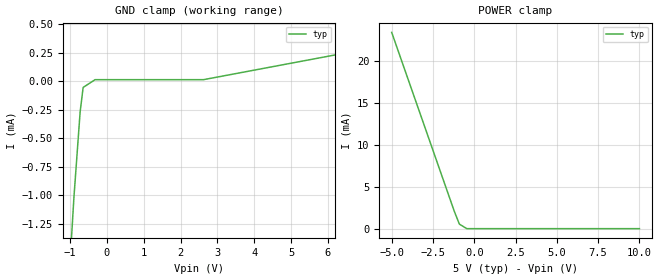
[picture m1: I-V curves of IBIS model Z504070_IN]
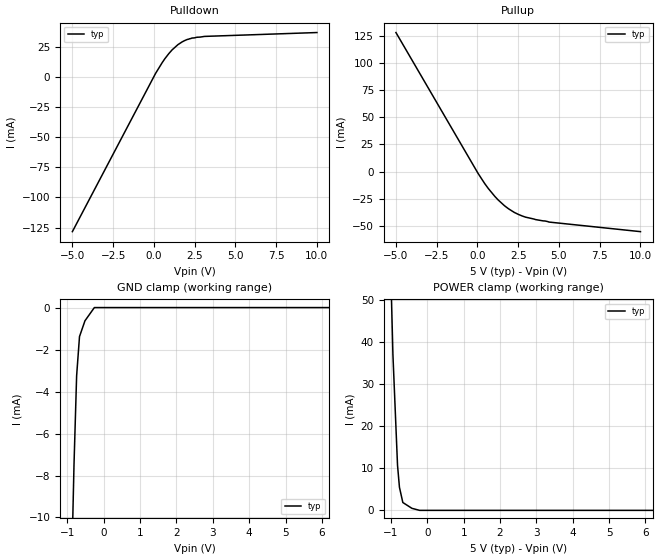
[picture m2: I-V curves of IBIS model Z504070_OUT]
| YOU ARE ONLY AUTHORIZED TO USE THIS SOFTWARE
| ACCORDING TO LICENSOR'S LICENSE RESTRICTIONS.
[IBIS Ver] 3.1
[File Name] mc54hc162j.ibs
[File Rev] 2.0
[Source] Measured and created by ICX Technology
[Date] Friday 7/14/00 9:08:06 AM
[Copyright]
| (C) COPYRIGHT 1993-2000
| MENTOR GRAPHICS CORPORATION
| ICX STANDARD LIBRARY, ICX PROJECT MODELING,
| ICX CUSTOM MODELING, ICX VENDOR MODEL
| ALL RIGHTS RESERVED.
| THE FOLLOWING ARE TRADEMARKS OR SERVICE MARKS OF
| MENTOR GRAPHICS CORPORATION:ICX (R), ICX STANDARD
| LIBRARY(R), ICX PROJECT MODELING(R), ICX CUSTOM
| MODELING(R), qualityIBIS(TM), MODELVIEWER(TM),
| AND MODELEDITOR(TM)
| ALL COPIES OF SOFTWARE, INCLUDING BUT NOT LIMITED TO
| ANY MODIFICATIONS, ENHANCEMENTS OR DERIVATIVE WORKS,
| MUST CONTAIN ALL MENTOR GRAPHICS CORPORATION'S
| NOTICES AND LEGENDS, INCLUDING THOSE EMBEDDED IN
| SOFTWARE AND THOSE AFFIXED TO SOFTWARE MEDIUM
| AND CONTAINER, AS RECEIVED FROM MENTOR GRAPHICS
| CORPORATION.
|  ZAP Model Builder 2.7
[Component] MC54HC162J
[Manufacturer] OnSemiconductor
[Package]
| variable   typ   min   max
R_pkg  .212ohms NA NA
L_pkg  4.758nH NA NA
C_pkg  1.944pF NA NA
[Pin] signal_name  model_name  R_pin  L_pin C_pin
1 _CLR Z504070_IN .224 7.258n 2.683p
2 CLK Z504070_IN .216 5.258n 2.19p
3 A Z504070_IN .208 3.758n 1.697p
4 B Z504070_IN .2 2.758n 1.204p
5 C Z504070_IN .2 2.758n 1.204p
6 D Z504070_IN .208 3.758n 1.697p
7 ENP Z504070_IN .216 5.258n 2.19p
8 GROUND GND .224 7.258n 2.683p
9 _LOAD Z504070_IN .224 7.258n 2.683p
10 ENT Z504070_IN .216 5.258n 2.19p
11 QD Z504070_OUT .208 3.758n 1.697p
12 QC Z504070_OUT .2 2.758n 1.204p
13 QB Z504070_OUT .2 2.758n 1.204p
14 QA Z504070_OUT .208 3.758n 1.697p
15 RCO Z504070_OUT .216 5.258n 2.19p
16 VCC POWER .224 7.258n 2.683p
| Models and submodels in the file (2): Z504070_IN (Input), Z504070_OUT (Output)
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| (C) COPYRIGHT 1993-2000
| MENTOR GRAPHICS CORPORATION
| ICX STANDARD LIBRARY, ICX PROJECT MODELING,
| ICX CUSTOM MODELING, ICX VENDOR MODEL
| ALL RIGHTS RESERVED.
| THE FOLLOWING ARE TRADEMARKS OR SERVICE MARKS OF
| MENTOR GRAPHICS CORPORATION:ICX (R), ICX STANDARD
| LIBRARY(R), ICX PROJECT MODELING(R), ICX CUSTOM
| MODELING(R), qualityIBIS(TM), MODELVIEWER(TM),
| AND MODELEDITOR(TM)
| ALL COPIES OF SOFTWARE, INCLUDING BUT NOT LIMITED TO
| ANY MODIFICATIONS, ENHANCEMENTS OR DERIVATIVE WORKS,
| MUST CONTAIN ALL MENTOR GRAPHICS CORPORATION'S
| NOTICES AND LEGENDS, INCLUDING THOSE EMBEDDED IN
| SOFTWARE AND THOSE AFFIXED TO SOFTWARE MEDIUM
| AND CONTAINER, AS RECEIVED FROM MENTOR GRAPHICS
| CORPORATION.
| Model Application Version 1.89 2/18/99.
[Model] Z504070_IN
Model_type Input
Vinl = 1.000V
Vinh = 3.500V
C_comp 4.000pF NA NA
| variable typ   min   max
[Voltage Range] 5.000V NA NA
[GND Clamp Reference] 0.000V NA NA
[POWER Clamp Reference] 5.000V NA NA
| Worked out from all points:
|   GND clamp passes 1 mA (typ) near -0.89 V on its own axis
[GND Clamp]
-5V       -23.14mA   NA         NA
-897.6mV  -1.02mA    NA         NA
-728mV    -266.2uA   NA         NA
-646.8mV  -54.18uA   NA         NA
-323.4mV  13.88uA    NA         NA
2.62V     13.88uA    NA         NA
10V       461.6uA    NA         NA
[POWER Clamp]
-5V       23.45mA    NA         NA
-1.211V   2.08mA     NA         NA
-903mV    544.9uA    NA         NA
-451.5mV  0A         NA         NA
10V       0A         NA         NA
| (C) COPYRIGHT 1993-2000
| MENTOR GRAPHICS CORPORATION
| ICX STANDARD LIBRARY, ICX PROJECT MODELING,
| ICX CUSTOM MODELING, ICX VENDOR MODEL
| ALL RIGHTS RESERVED.
| THE FOLLOWING ARE TRADEMARKS OR SERVICE MARKS OF
| MENTOR GRAPHICS CORPORATION:ICX (R), ICX STANDARD
| LIBRARY(R), ICX PROJECT MODELING(R), ICX CUSTOM
| MODELING(R), qualityIBIS(TM), MODELVIEWER(TM),
| AND MODELEDITOR(TM)
| ALL COPIES OF SOFTWARE, INCLUDING BUT NOT LIMITED TO
| ANY MODIFICATIONS, ENHANCEMENTS OR DERIVATIVE WORKS,
| MUST CONTAIN ALL MENTOR GRAPHICS CORPORATION'S
| NOTICES AND LEGENDS, INCLUDING THOSE EMBEDDED IN
| SOFTWARE AND THOSE AFFIXED TO SOFTWARE MEDIUM
| AND CONTAINER, AS RECEIVED FROM MENTOR GRAPHICS
| CORPORATION.
| Model Application Version 1.89 2/18/99.
[Model] Z504070_OUT
Model_type Output
Vref=0.000V
Rref=500.0Mohms
Cref=50.00pF
Vmeas=2.500V
C_comp 8.000pF NA NA
| variable typ   min   max
[Voltage Range] 5.000V NA NA
[POWER Clamp Reference] 5.000V NA NA
[Pullup Reference] 5.000V NA NA
[Pulldown Reference] 0.000V NA NA
[GND Clamp Reference] 0.000V NA NA
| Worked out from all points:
|   slope of the pulldown table from 0 to 0.75 V, typ, clamps not added: 46.4 ohm
|   slope of the pullup table from 0 to 0.75 V, typ, clamps not added: 45.5 ohm
|   GND clamp passes 1 mA (typ) near -0.59 V on its own axis
[GND Clamp]
-5V       -481.8mA   NA         NA
-1.357V   -50.51mA   NA         NA
-1.23V    -38.61mA   NA         NA
-818.1mV  -7.431mA   NA         NA
-746.9mV  -3.253mA   NA         NA
-667.6mV  -1.382mA   NA         NA
-517.6mV  -629.7uA   NA         NA
-258.8mV  0A         NA         NA
10V       0A         NA         NA
[Pulldown]
-5V       -128.4mA   NA         NA
102.8mV   2.835mA    NA         NA
512.7mV   11.86mA    NA         NA
922.8mV   19.39mA    NA         NA
1.475V    26.7mA     NA         NA
2.051V    31.03mA    NA         NA
3.105V    33.54mA    NA         NA
10V       36.75mA    NA         NA
[Pullup]
-5V       128.3mA    NA         NA
39mV      -1.754mA   NA         NA
664mV     -15.65mA   NA         NA
1.27V     -26.25mA   NA         NA
1.665V    -31.67mA   NA         NA
2.514V    -39.61mA   NA         NA
3.564V    -44.37mA   NA         NA
4.38V     -46.65mA   NA         NA
10V       -55.51mA   NA         NA
[POWER Clamp]
-5V       1.883A     NA         NA
-1.093V   86.23mA    NA         NA
-947mV    37.15mA    NA         NA
-820mV    10.72mA    NA         NA
-767mV    5.488mA    NA         NA
-674mV    1.869mA    NA         NA
-424mV    482.4uA    NA         NA
-212mV    0A         NA         NA
10V       0A         NA         NA
[Ramp]
| variable typ min max
dV/dt_r 2.785/1.818n NA NA
dV/dt_f 2.785/1.647n NA NA
R_load = 500.0Ohms
